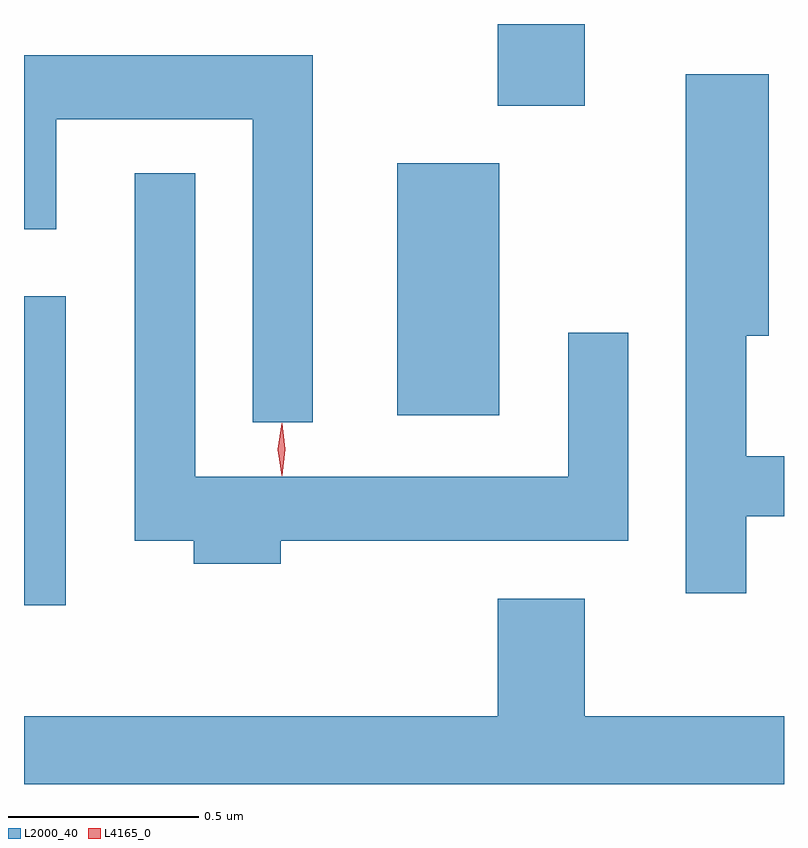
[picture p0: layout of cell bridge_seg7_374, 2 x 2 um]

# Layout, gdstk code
import gdstk
lib = gdstk.Library(unit=1e-6, precision=1e-09)
def R(c, l, rs):  # rectangles x0, y0, x1, y1
    for r in rs: c.add(gdstk.rectangle(r[:2], r[2:], *l))
def P(c, l, *ps):  # polygons
    for p in ps: c.add(gdstk.Polygon(p, *l))
L2000_40 = (2000, 40)
L4165_0 = (4165, 0)

bridge_seg7_374 = lib.new_cell('bridge_seg7_374')
R(bridge_seg7_374, L2000_40, [(1198.104,1774.816,1198.214,1775.629), (1199.086,1775.316,1199.354,1775.979), (1199.351,1776.131,1199.579,1776.346)])
P(bridge_seg7_374, L2000_40, [(1198.864,1776.264),(1198.104,1776.264),(1198.104,1775.806),(1198.189,1775.806),(1198.189,1776.096),(1198.706,1776.096),(1198.706,1775.298),(1198.864,1775.298)],
  [(1200.004,1775.051),(1200.104,1775.051),(1200.104,1775.209),(1200.004,1775.209),(1200.004,1775.526),(1200.064,1775.526),(1200.064,1776.214),(1199.846,1776.214),(1199.846,1774.848),(1200.004,1774.848)],
  [(1198.779,1774.986),(1199.694,1774.986),(1199.694,1775.533),(1199.536,1775.533),(1199.536,1775.154),(1198.554,1775.154),(1198.554,1775.953),(1198.396,1775.953),(1198.396,1774.986),(1198.551,1774.986),(1198.551,1774.926),(1198.779,1774.926)],
  [(1200.104,1774.524),(1199.579,1774.524),(1199.579,1774.834),(1199.351,1774.834),(1199.351,1774.524),(1198.104,1774.524),(1198.104,1774.346),(1200.104,1774.346)])
P(bridge_seg7_374, L4165_0, [(1198.782,1775.157),(1198.782,1775.157),(1198.772,1775.227),(1198.782,1775.296),(1198.782,1775.296),(1198.783,1775.296),(1198.792,1775.227),(1198.783,1775.157)],
  [(1198.782,1775.159),(1198.782,1775.16),(1198.772,1775.226),(1198.782,1775.293),(1198.782,1775.293),(1198.782,1775.293),(1198.792,1775.226),(1198.782,1775.16)])

lib.write_gds('bridge_seg7_374.gds')
